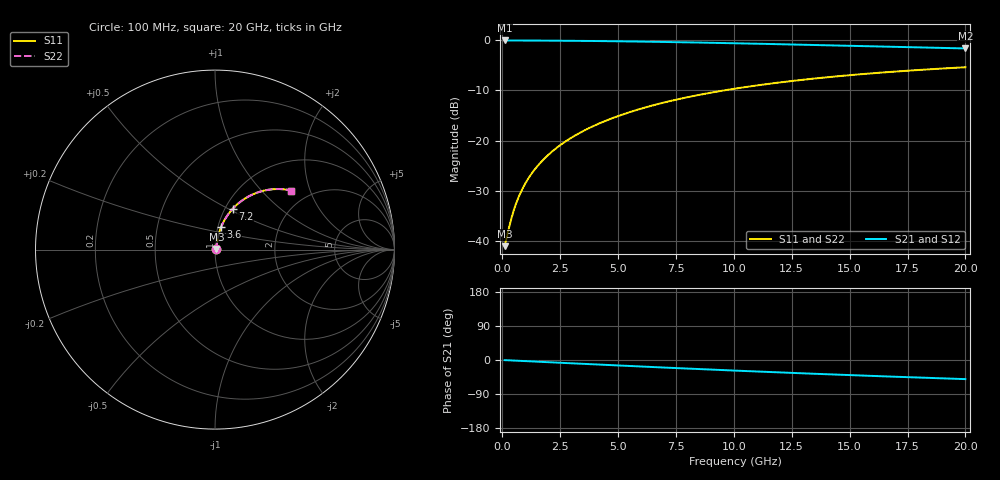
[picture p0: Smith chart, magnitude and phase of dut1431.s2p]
! Touchstone file exported from HFSS 2026.1.0
!  File:  C:/ffzhzh/LocalFiles/Ansys_Project_Files/temp_train_TMRDL_1431_1783166868_43440.aedt
!  Generated:  08:09:01 PM Jul  4, 2026
!  Design:  TMRDL
!  Project:  temp_train_TMRDL_1431_1783166868_43440
! Variables:
!  h_bsmrdl = 2um
!  h_ox = 20um
!  h_rdl = 5um
!  h_sub = 80um
!  h_tmrdl = 2.83um
!  h_tsv = 80um
!  h_via = 3um
!  l_bsmrdl = 300um
!  l_sub = 1104.82um
!  l_tmrdl = 704.82um
!  m_sub = 200um
!  pitch = 39.66um
!  r_tsv = 6um
!  s_tmrdl = 10um
!  w_bsmrdl = 18um
!  w_sub = 500um
!  w_tmrdl = 10.78um
!  x_tsv_center1 = 710.21um
!  x_tsv_center2 = 1028.21um
!  x_tsv_center3 = 1743.81um
!  x_tsv_center4 = 2061.81um
!  x_tsv_center5 = 2777.41um
!  x_tsv_center6 = 3095.41um
# GHz S MA R 50.000000
! Terminal data exported
! Port[1] = TM_RDL1_1_T1
! Port[2] = TM_RDL1_1_T2
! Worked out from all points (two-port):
!   200 points, 100 MHz to 20 GHz, reference 50 ohm
!   highest |S21| = -0.07 dB at 100 MHz (marker M1); lowest = -1.7 dB at 20 GHz (marker M2)
!   |S21| within 3 dB of the highest: start of sweep to end of sweep
!   lowest |S11| = -40.9 dB at 100 MHz (marker M3), VSWR 1.02, Z = 50.8 + j0.38 ohm
!   |S11| at or under -10 dB: start of sweep to 9.57 GHz
!   |S22| runs from -40.9 to -5.4 dB; largest |S21 - S12| = 2.6e-15
!   S11 on the Smith chart (normalised r, x): 100 MHz: 1.02, +0.01; 3.6 GHz: 1.04, +0.26; 7.2 GHz: 1.09, +0.52; 20 GHz: 1.62, +1.50
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0.1  0.008972 24.6  0.9919 -0.3  0.9919 -0.3  0.008972 24.6
! Gamma 0 0 0 0
! Port Impedance 50 0 50 0
0.4  0.0172 59.6  0.9915 -1.2  0.9915 -1.2  0.0172 59.6
0.6  0.02396 67.1  0.9911 -1.8  0.9911 -1.8  0.02396 67.1
0.7  0.02741 69.3  0.9909 -2.1  0.9909 -2.1  0.02741 69.3
0.9  0.03437 72.2  0.9905 -2.7  0.9905 -2.7  0.03437 72.2
1.2  0.04485 74.6  0.9898 -3.6  0.9898 -3.6  0.04485 74.6
1.4  0.05185 75.4  0.9893 -4.1  0.9893 -4.1  0.05185 75.4
1.7  0.06237 76.2  0.9886 -5.0  0.9886 -5.0  0.06237 76.2
2.2  0.07989 76.5  0.9871 -6.4  0.9871 -6.4  0.07989 76.5
2.8  0.1008 76.1  0.9849 -8.2  0.9849 -8.2  0.1008 76.1
3.5  0.1251 75.1  0.9819 -10.2  0.9819 -10.2  0.1251 75.1
3.6  0.1285 74.9  0.9814 -10.5  0.9814 -10.5  0.1285 74.9
4.3  0.1524 73.5  0.9777 -12.5  0.9777 -12.5  0.1524 73.5
5  0.1759 72.0  0.9734 -14.4  0.9734 -14.4  0.1759 72.0
5.9  0.2054 69.8  0.9672 -16.9  0.9672 -16.9  0.2054 69.8
6.8  0.2341 67.6  0.9602 -19.4  0.9602 -19.4  0.2341 67.6
7.2  0.2465 66.6  0.9569 -20.5  0.9569 -20.5  0.2465 66.6
8.6  0.2886 63.2  0.9444 -24.2  0.9444 -24.2  0.2886 63.2
10.1  0.3308 59.5  0.9298 -28.1  0.9298 -28.1  0.3308 59.5
13.4  0.4133 51.7  0.8951 -36.2  0.8951 -36.2  0.4133 51.7
16.7  0.4819 44.5  0.8597 -43.6  0.8597 -43.6  0.4819 44.4
20  0.5376 37.8  0.8261 -50.5  0.8261 -50.5  0.5376 37.7
